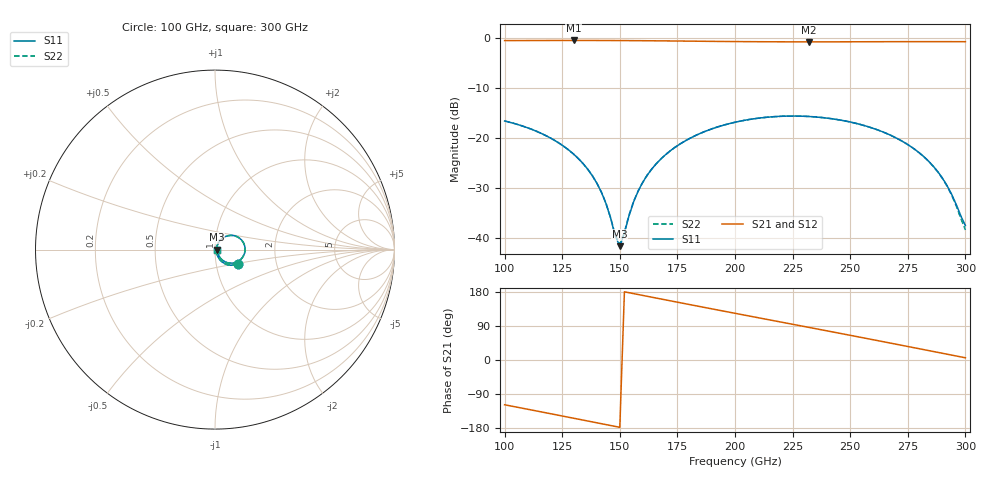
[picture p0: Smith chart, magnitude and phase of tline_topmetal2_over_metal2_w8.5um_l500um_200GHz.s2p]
#  GHZ S DB R 50
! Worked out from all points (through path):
!   101 points, 100 GHz to 300 GHz, reference 50 ohm
!   highest |S21| = -0.39 dB at 130 GHz (marker M1); lowest = -0.7 dB at 232 GHz (marker M2)
!   group delay of S21, straight-line fit = 3.27 ps
!   lowest |S11| = -41.5 dB at 150 GHz (marker M3), VSWR 1.02, Z = 50.8 + j0.0231 ohm
!   |S11| at or under -10 dB: start of sweep to end of sweep
!   |S22| runs from -41.2 to -15.5 dB; largest |S21 - S12| = 1.1e-14
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100  -16.50 -32.4  -0.42 -118.2  -0.42 -118.2  -16.51 -32.3
116  -19.01 -49.2  -0.40 -137.0  -0.40 -137.0  -19.01 -49.1
130  -23.16 -62.4  -0.39 -153.7  -0.39 -153.7  -23.16 -62.3
134  -25.00 -65.4  -0.40 -158.5  -0.40 -158.5  -25.00 -65.1
142  -30.73 -66.3  -0.40 -168.1  -0.40 -168.1  -30.72 -65.8
146  -35.91 -56.1  -0.41 -172.9  -0.41 -172.9  -35.84 -55.1
148  -39.48 -38.0  -0.41 -175.3  -0.41 -175.3  -39.28 -36.8
150  -41.55 1.6  -0.42 -177.7  -0.42 -177.7  -41.20 1.7
158  -30.50 62.6  -0.44 172.8  -0.44 172.8  -30.46 61.9
162  -27.29 63.2  -0.45 168.0  -0.45 168.0  -27.26 62.6
168  -24.03 59.9  -0.48 160.9  -0.48 160.9  -24.02 59.5
182  -19.61 47.4  -0.54 144.3  -0.54 144.3  -19.60 47.0
200  -16.76 28.6  -0.62 123.3  -0.62 123.3  -16.76 28.2
216  -15.67 11.1  -0.66 104.7  -0.66 104.7  -15.67 10.8
232  -15.61 -6.3  -0.67 86.1  -0.67 86.1  -15.61 -6.7
234  -15.67 -8.5  -0.67 83.8  -0.67 83.8  -15.66 -8.9
250  -16.71 -25.7  -0.66 65.2  -0.66 65.2  -16.71 -26.2
268  -19.46 -44.2  -0.64 44.0  -0.64 44.0  -19.46 -44.9
280  -22.88 -54.5  -0.63 29.7  -0.63 29.7  -22.89 -55.6
288  -26.63 -58.0  -0.63 20.2  -0.63 20.2  -26.68 -59.7
294  -31.14 -53.3  -0.64 13.0  -0.64 13.0  -31.31 -56.0
300  -37.43 -15.4  -0.65 5.8  -0.65 5.8  -38.30 -17.9
